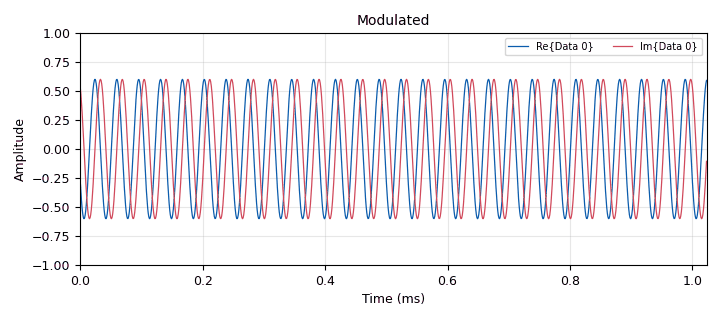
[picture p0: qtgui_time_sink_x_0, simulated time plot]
options:
  parameters:
    generate_options: qt_gui
    id: OOK_Tx_Sonnette
    output_language: python
    title: OOK_Tx_Sonnette
  states: {}

blocks:
- name: bits
  id: variable
  parameters:
    value: '[]'
  states: {}
- name: center_freq
  id: variable_qtgui_range
  parameters:
    label: center_freq
    start: 425e6
    step: 1e3
    stop: 445e6
    value: '433850000'
  states: {}
- name: gain
  id: variable_qtgui_range
  parameters:
    label: gain
    rangeType: int
    start: '-12'
    step: '1'
    stop: '64'
    value: '40'
  states: {}
- name: samp_rate
  id: variable
  parameters:
    value: 1e6
  states: {}
- name: symbol_duration
  id: variable_qtgui_range
  parameters:
    label: symbol_duration
    rangeType: int
    start: '0'
    step: '1'
    stop: '3000'
    value: '520'
  states: {}
- name: symbols
  id: variable
  parameters:
    comment: |-
      [1,0,1,1,0,0,1,0,0,0,0,1,1,0,1,1,1,0,0,0,0,1,0,1,1,1,0,1,0,0,1,1,0]  # good
      [1,0,0,0,0,1,0,0,1,0,0,1,0,1,1,1,1,1,0,1,0,1,0,1,1,0,0,1,0,0,1,1,0]  # good too

      [1,0,1,1,0,0,1,0,0,0,0,1,0,0,1,1,1,0,0,0,0,1,0,1,1,1,0,1,0,0,1,1,0]
    value: '[1,0,0,0,0,1,0,0,1,0,0,1,0,1,1,1,1,1,0,1,0,1,0,1,1,0,0,1,0,0,1,1,0]'
  states: {}
- name: vector_bits
  id: variable
  parameters:
    value: ([bits.extend([1,1,1,0]) if s==1 else bits.extend([1,0,0,0]) for s in symbols],bits[:-1])[1]
  states: {}
- name: analog_const_source_x_0
  id: analog_const_source_x
  parameters:
    const: '0'
    type: float
  states: {state: disabled}
- name: analog_sig_source_x_0
  id: analog_sig_source_x
  parameters:
    amp: '0.6'
    freq: 28e3
    offset: '0'
    phase: '0'
    samp_rate: samp_rate
    type: complex
    waveform: analog.GR_COS_WAVE
  states: {}
- name: analog_sig_source_x_1
  id: analog_sig_source_x
  parameters:
    amp: '1'
    freq: 1/(symbol_duration*33)*10**6
    offset: '0'
    phase: '0'
    samp_rate: samp_rate
    type: float
    waveform: analog.GR_SQR_WAVE
  states: {state: disabled}
- name: blocks_float_to_complex_0
  id: blocks_float_to_complex
  parameters: {}
  states: {state: disabled}
- name: blocks_multiply_xx_0
  id: blocks_multiply_xx
  parameters:
    type: complex
  states: {state: disabled}
- name: blocks_multiply_xx_0_0
  id: blocks_multiply_xx
  parameters:
    type: complex
  states: {}
- name: blocks_repeat_0
  id: blocks_repeat
  parameters:
    interp: symbol_duration
    type: complex
  states: {}
- name: blocks_vector_source_x_0
  id: blocks_vector_source_x
  parameters:
    comment: |-
      [0, 1, 1, 1, 0, 1, 0, 0, 0, 1, 1, 1, 0, 1, 1, 1, 0, 1, 0, 0, 0, 1, 0, 0, 0, 1, 1, 1, 0, 1, 0, 0, 0, 1, 0, 0, 0, 1, 0, 0, 0, 1, 0, 0, 0, 1, 1, 1, 0, 1, 1, 1, 0, 1, 0, 0, 0, 1, 1, 1, 0, 1, 1, 1, 0, 1, 1, 1, 0, 1, 0, 0, 0, 1, 0, 0, 0, 1, 0, 0, 0, 1, 0, 0, 0, 1, 1, 1, 0, 1, 0, 0, 0, 1, 1, 1, 0, 1, 1, 1, 0, 1, 1, 1, 0, 1, 0, 0, 0, 1, 1, 1, 0, 1, 0, 0, 0, 1, 0, 0, 0, 1, 1, 1, 0, 1, 1, 1, 0, 1, 0, 0, 0]
      e8ee88e8888ee8eee8888e8eee8e88ee8

      [1, 1, 1, 1, 1, 1, 1, 1, 0, 0, 1, 1, 1, 0, 0, 0, 0, 0, 0, 0, 1, 1, 1, 1, 1, 1, 1, 1, 0, 0, 1, 1, 1, 1, 1, 1, 1, 1, 0, 0, 1, 1, 1, 0, 0, 0, 0, 0, 0, 0, 1, 1, 1, 0, 0, 0, 0, 0, 0, 0, 1, 1, 1, 1, 1, 1, 1, 1, 0, 0, 1, 1, 1, 0, 0, 0, 0, 0, 0, 0, 1, 1, 1, 0, 0, 0, 0, 0, 0, 0, 1, 1, 1, 0, 0, 0, 0, 0, 0, 0, 1, 1, 1, 0, 0, 0, 0, 0, 0, 0, 1, 1, 1, 1, 1, 1, 1, 1, 0, 0, 1, 1, 1, 1, 1, 1, 1, 1, 0, 0, 1, 1, 1, 0, 0, 0, 0, 0, 0, 0, 1, 1, 1, 1, 1, 1, 1, 1, 0, 0, 1, 1, 1, 1, 1, 1, 1, 1, 0, 0, 1, 1, 1, 1, 1, 1, 1, 1, 0, 0, 1, 1, 1, 0, 0, 0, 0, 0, 0, 0, 1, 1, 1, 0, 0, 0, 0, 0, 0, 0, 1, 1, 1, 0, 0, 0, 0, 0, 0, 0, 1, 1, 1, 0, 0, 0, 0, 0, 0, 0, 1, 1, 1, 1, 1, 1, 1, 1, 0, 0, 1, 1, 1, 0, 0, 0, 0, 0, 0, 0, 1, 1, 1, 1, 1, 1, 1, 1, 0, 0, 1, 1, 1, 1, 1, 1, 1, 1, 0, 0, 1, 1, 1, 1, 1, 1, 1, 1, 0, 0, 1, 1, 1, 0, 0, 0, 0, 0, 0, 0, 1, 1, 1, 1, 1, 1, 1, 1, 0, 0, 1, 1, 1, 0, 0, 0, 0, 0, 0, 0, 1, 1, 1, 0, 0, 0, 0, 0, 0, 0, 1, 1, 1, 1, 1, 1, 1, 1, 0, 0, 1, 1, 1, 1, 1, 1, 1, 1, 0, 0, 1, 1, 1, 0, 0, 0, 0, 0, 0, 0]
      0x5555f57fff5555f5555f57fff57fff5555f57fff57fff57fff57fff5555f5555f57fff5555f5555f5555f57fff57fff57fff57fff5555f57fff5555f5555f5555f57fff5555f57fff57fff5555f5555f57fff

      [1,0,1,1,0,0,1,0,0,0,0,1,1,0,1,1,1,0,0,0,0,1,0,1,1,1,0,1,0,0,1,1,0]
    repeat: 'True'
    type: complex
    vector: vector_bits + [0]*12
  states: {}
- name: blocks_vector_source_x_1
  id: blocks_vector_source_x
  parameters:
    repeat: 'True'
    type: complex
    vector: '[1.0]*68000 + [0.0]*6800'
  states: {state: disabled}
- name: qtgui_time_sink_x_0
  id: qtgui_time_sink_x
  parameters:
    ctrlpanel: 'True'
    name: Modulated
    size: '1024'
    srate: samp_rate
    type: complex
  states: {}
- name: qtgui_time_sink_x_0_0
  id: qtgui_time_sink_x
  parameters:
    ctrlpanel: 'True'
    name: Source bits
    size: 2**16
    srate: samp_rate
    type: complex
  states: {state: disabled}
- name: soapy_hackrf_sink_0
  id: soapy_hackrf_sink
  parameters:
    center_freq: center_freq
    samp_rate: samp_rate
    type: fc32
    vga: '47'
  states: {state: disabled}
- name: soapy_limesdr_sink_0
  id: soapy_limesdr_sink
  parameters:
    center_freq: center_freq
    dev_args: serial=1DA1505C7F4246
    gain: gain
    samp_rate: samp_rate
    type: fc32
  states: {}

connections:
- [analog_const_source_x_0, '0', blocks_float_to_complex_0, '1']
- [analog_sig_source_x_0, '0', blocks_multiply_xx_0_0, '1']
- [analog_sig_source_x_1, '0', blocks_float_to_complex_0, '0']
- [blocks_float_to_complex_0, '0', blocks_multiply_xx_0, '1']
- [blocks_multiply_xx_0, '0', blocks_multiply_xx_0_0, '0']
- [blocks_multiply_xx_0_0, '0', qtgui_time_sink_x_0, '0']
- [blocks_multiply_xx_0_0, '0', soapy_hackrf_sink_0, '0']
- [blocks_multiply_xx_0_0, '0', soapy_limesdr_sink_0, '0']
- [blocks_repeat_0, '0', blocks_multiply_xx_0, '0']
- [blocks_repeat_0, '0', blocks_multiply_xx_0_0, '0']
- [blocks_vector_source_x_0, '0', blocks_repeat_0, '0']
- [blocks_vector_source_x_1, '0', blocks_multiply_xx_0_0, '0']
- [blocks_vector_source_x_1, '0', qtgui_time_sink_x_0_0, '0']

metadata:
  file_format: 1
  grc_version: 3.10.9.2
